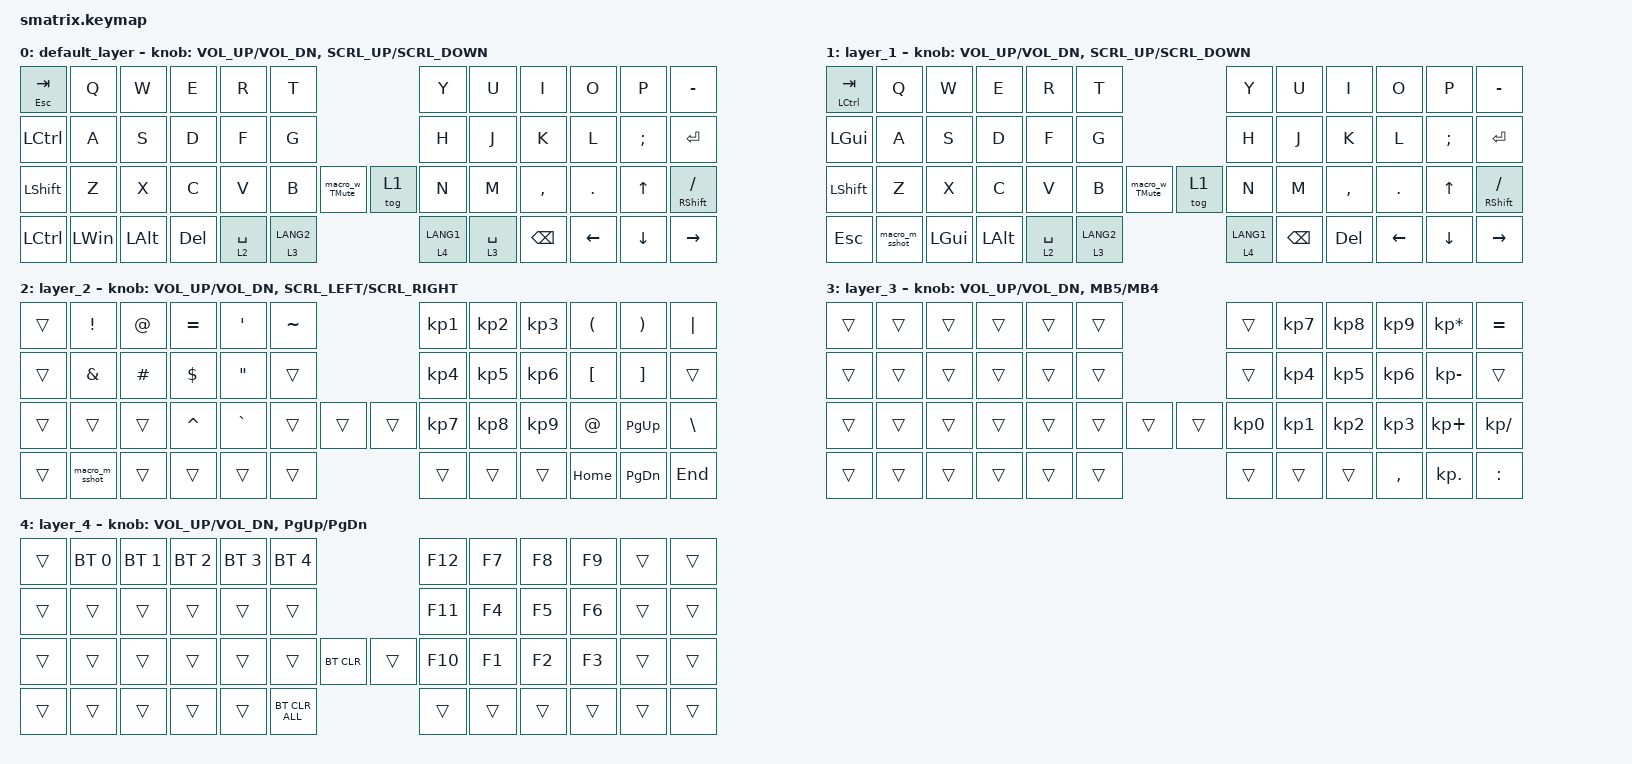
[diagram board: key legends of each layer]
#define ZMK_POINTING_DEFAULT_MOVE_VAL 800
#define ZMK_POINTING_DEFAULT_SCRL_VAL 120

#include <input/processors.dtsi>
#include <zephyr/dt-bindings/input/input-event-codes.h>
#include <behaviors.dtsi>
#include <dt-bindings/zmk/bt.h>
#include <dt-bindings/zmk/keys.h>
#include <dt-bindings/zmk/pointing.h>

&mt {
    flavor = "balanced";
    quick-tap-ms = <0>;
};

&msc {
    delay-ms = <0>;
    trigger-period-ms = <10>;
    time-to-max-speed-ms = <0>;
    acceleration-exponent = <0>;
};

/ {
    input_processors {
        zip_wheel_scaler: zip_wheel_scaler {
            compatible = "zmk,input-processor-scaler";
            #input-processor-cells = <2>;
            type = <INPUT_EV_REL>;
            codes = <INPUT_REL_WHEEL>;
            track-remainders;
        };
    };
};

&msc_input_listener {
    warp {
        layers = <0>;
        input-processors = <&zip_wheel_scaler 4 1>;
    };

    precision {
        layers = <1>;
        input-processors = <&zip_wheel_scaler 1 2>;
    };
};

/ {
    behaviors {
        rot_kp: sensor_rotate_kp {
            compatible = "zmk,behavior-sensor-rotate-var";
            #sensor-binding-cells = <2>;
            bindings = <&kp>, <&kp>;
        };

        mouse_click: mouse_button_kp {
            compatible = "zmk,behavior-sensor-rotate-var";
            #sensor-binding-cells = <2>;
            bindings = <&mkp>, <&mkp>;
        };

        mouse_scrl: mouse_wheel_scrl {
            compatible = "zmk,behavior-sensor-rotate-var";
            #sensor-binding-cells = <2>;
            bindings = <&msc>, <&msc>;

            tap-ms = <10>;
        };

        macro_w_sshot: macro_w_sshot {
            compatible = "zmk,behavior-macro";
            label = "Win Screenshot Macro";
            #binding-cells = <0>;
            bindings =
                <&macro_press>,
                <&kp LGUI &kp LSHFT>,
                <&macro_tap>,
                <&kp S>,
                <&macro_release>,
                <&kp LGUI &kp LSHFT>;
        };

        macro_m_sshot: macro_m_sshot {
            compatible = "zmk,behavior-macro";
            label = "Mac Screenshot Macro";
            #binding-cells = <0>;
            bindings =
                <&macro_press>,
                <&kp LGUI &kp LSHFT>,
                <&macro_tap>,
                <&kp N4>,
                <&macro_release>,
                <&kp LGUI &kp LSHFT>;
        };

        macro_w_TMute: macro_w_TMute {
            compatible = "zmk,behavior-macro";
            label = "Win Teams Mic Mute";
            #binding-cells = <0>;
            bindings =
                <&macro_press>,
                <&kp LGUI &kp LALT>,
                <&macro_tap>,
                <&kp K>,
                <&macro_release>,
                <&kp LGUI &kp LALT>;
        };
    };

    macros {
    };

    keymap {
        compatible = "zmk,keymap";

        default_layer {
            bindings = <
&mt ESCAPE TAB  &kp Q         &kp W     &kp E       &kp R        &kp T                                  &kp Y        &kp U        &kp I          &kp O       &kp P     &kp MINUS
&kp LCTRL       &kp A         &kp S     &kp D       &kp F        &kp G                                  &kp H        &kp J        &kp K          &kp L       &kp SEMI  &kp ENTER
&kp LSHFT       &kp Z         &kp X     &kp C       &kp V        &kp B        &macro_w_TMute    &tog 1  &kp N        &kp M        &kp COMMA      &kp PERIOD  &kp UP    &mt RSHFT SLASH
&kp LCTRL       &kp LEFT_WIN  &kp LALT  &kp DELETE  &lt 2 SPACE  &lt 3 LANG2                            &lt 4 LANG1  &lt 3 SPACE  &kp BACKSPACE  &kp LEFT    &kp DOWN  &kp RIGHT
            >;

            sensor-bindings = <&rot_kp C_VOL_UP C_VOL_DN    &mouse_scrl SCRL_UP SCRL_DOWN>;
        };

        layer_1 {
            bindings = <
&mt LCTRL TAB  &kp Q           &kp W     &kp E     &kp R        &kp T                                  &kp Y        &kp U          &kp I      &kp O       &kp P     &kp MINUS
&kp LGUI       &kp A           &kp S     &kp D     &kp F        &kp G                                  &kp H        &kp J          &kp K      &kp L       &kp SEMI  &kp ENTER
&kp LSHFT      &kp Z           &kp X     &kp C     &kp V        &kp B        &macro_w_TMute    &tog 1  &kp N        &kp M          &kp COMMA  &kp PERIOD  &kp UP    &mt RSHFT SLASH
&kp ESC        &macro_m_sshot  &kp LGUI  &kp LALT  &lt 2 SPACE  &lt 3 LANG2                            &lt 4 LANG1  &kp BACKSPACE  &kp DEL    &kp LEFT    &kp DOWN  &kp RIGHT
            >;

            sensor-bindings = <&rot_kp C_VOL_UP C_VOL_DN    &mouse_scrl SCRL_UP SCRL_DOWN>;
        };

        layer_2 {
            bindings = <
&trans  &kp EXCL        &kp AT    &kp EQUAL   &kp APOS   &kp TILDE                    &kp KP_N1  &kp KP_N2  &kp KP_N3  &kp LPAR          &kp RPAR   &kp PIPE
&trans  &kp AMPS        &kp HASH  &kp DOLLAR  &kp DQT    &trans                       &kp KP_N4  &kp KP_N5  &kp KP_N6  &kp LEFT_BRACKET  &kp RBKT   &trans
&trans  &trans          &trans    &kp CARET   &kp GRAVE  &trans     &trans    &trans  &kp KP_N7  &kp KP_N8  &kp KP_N9  &kp AT            &kp PG_UP  &kp BSLH
&trans  &macro_m_sshot  &trans    &trans      &trans     &trans                       &trans     &trans     &trans     &kp HOME          &kp PG_DN  &kp END
            >;

            sensor-bindings = <&rot_kp C_VOL_UP C_VOL_DN    &mouse_scrl SCRL_LEFT SCRL_RIGHT>;
        };

        layer_3 {
            bindings = <
&trans  &trans  &trans  &trans  &trans  &trans                    &trans     &kp KP_N7  &kp KP_N8  &kp KP_N9  &kp KP_ASTERISK  &kp EQUAL
&trans  &trans  &trans  &trans  &trans  &trans                    &trans     &kp KP_N4  &kp KP_N5  &kp KP_N6  &kp KP_MINUS     &trans
&trans  &trans  &trans  &trans  &trans  &trans  &trans    &trans  &kp KP_N0  &kp KP_N1  &kp KP_N2  &kp KP_N3  &kp KP_PLUS      &kp KP_SLASH
&trans  &trans  &trans  &trans  &trans  &trans                    &trans     &trans     &trans     &kp COMMA  &kp KP_DOT       &kp COLON
            >;

            sensor-bindings = <&rot_kp C_VOL_UP C_VOL_DN    &mouse_click MB5 MB4>;
        };

        layer_4 {
            bindings = <
&trans  &bt BT_SEL 0  &bt BT_SEL 1  &bt BT_SEL 2  &bt BT_SEL 3  &bt BT_SEL 4                          &kp F12  &kp F7  &kp F8  &kp F9  &trans  &trans
&trans  &trans        &trans        &trans        &trans        &trans                                &kp F11  &kp F4  &kp F5  &kp F6  &trans  &trans
&trans  &trans        &trans        &trans        &trans        &trans          &bt BT_CLR    &trans  &kp F10  &kp F1  &kp F2  &kp F3  &trans  &trans
&trans  &trans        &trans        &trans        &trans        &bt BT_CLR_ALL                        &trans   &trans  &trans  &trans  &trans  &trans
            >;

            sensor-bindings = <&rot_kp C_VOL_UP C_VOL_DN    &rot_kp PG_UP PG_DN>;
        };
    };
};
